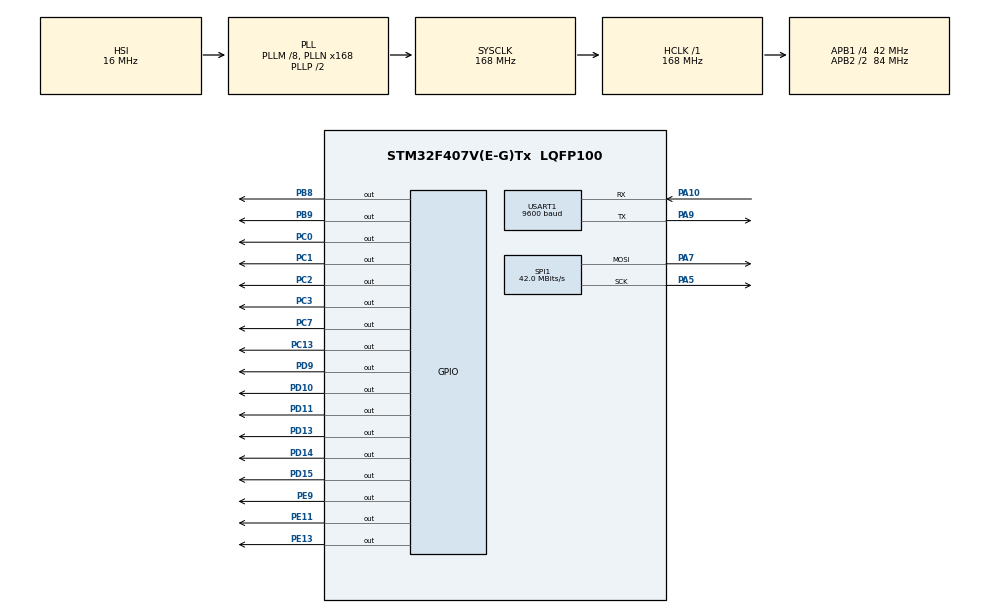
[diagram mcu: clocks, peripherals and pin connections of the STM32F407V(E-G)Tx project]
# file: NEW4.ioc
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Dma.Request0=SPI1_TX
Dma.SPI1_TX.0.Direction=DMA_MEMORY_TO_PERIPH
Dma.SPI1_TX.0.FIFOMode=DMA_FIFOMODE_DISABLE
Dma.SPI1_TX.0.Instance=DMA2_Stream3
Dma.SPI1_TX.0.MemDataAlignment=DMA_MDATAALIGN_BYTE
Dma.SPI1_TX.0.MemInc=DMA_MINC_ENABLE
Dma.SPI1_TX.0.Mode=DMA_NORMAL
Dma.SPI1_TX.0.PeriphDataAlignment=DMA_PDATAALIGN_BYTE
Dma.SPI1_TX.0.PeriphInc=DMA_PINC_DISABLE
Dma.SPI1_TX.0.Priority=DMA_PRIORITY_LOW
Mcu.Family=STM32F4
Mcu.Name=STM32F407V(E-G)Tx
Mcu.Package=LQFP100
NVIC.DMA2_Stream3_IRQn=true\:0\:0\:false\:false\:true\:false\:true
NVIC.PriorityGroup=NVIC_PRIORITYGROUP_4
NVIC.SPI1_IRQn=true\:0\:0\:false\:false\:true\:true\:true
PA10.Mode=Asynchronous
PA10.Signal=USART1_RX
PA13.Mode=Serial_Wire
PA13.Signal=SYS_JTMS-SWDIO
PA14.Mode=Serial_Wire
PA14.Signal=SYS_JTCK-SWCLK
PA5.Mode=TX_Only_Simplex_Unidirect_Master
PA5.Signal=SPI1_SCK
PA7.Mode=TX_Only_Simplex_Unidirect_Master
PA7.Signal=SPI1_MOSI
PA9.Mode=Asynchronous
PA9.Signal=USART1_TX
PB8.Signal=GPIO_Output
PB9.Signal=GPIO_Output
PC0.Signal=GPIO_Output
PC1.Signal=GPIO_Output
PC13-ANTI_TAMP.Signal=GPIO_Output
PC2.Signal=GPIO_Output
PC3.Signal=GPIO_Output
PC7.Signal=GPIO_Output
PD10.Signal=GPIO_Output
PD11.Signal=GPIO_Output
PD13.Signal=GPIO_Output
PD14.Signal=GPIO_Output
PD15.Signal=GPIO_Output
PD9.Signal=GPIO_Output
PE11.GPIO_Speed=GPIO_SPEED_FREQ_LOW
PE11.Signal=GPIO_Output
PE13.GPIO_Speed=GPIO_SPEED_FREQ_LOW
PE13.Signal=GPIO_Output
PE9.GPIO_Speed=GPIO_SPEED_FREQ_LOW
PE9.Signal=GPIO_Output
PH0-OSC_IN.Mode=HSE-External-Oscillator
PH0-OSC_IN.Signal=RCC_OSC_IN
PH1-OSC_OUT.Mode=HSE-External-Oscillator
PH1-OSC_OUT.Signal=RCC_OSC_OUT
ProjectManager.HeapSize=0x200
ProjectManager.StackSize=0x400
ProjectManager.TargetToolchain=EWARM V8.32
RCC.48MHZClocksFreq_Value=84000000
RCC.AHBFreq_Value=168000000
RCC.APB1CLKDivider=RCC_HCLK_DIV4
RCC.APB1Freq_Value=42000000
RCC.APB1TimFreq_Value=84000000
RCC.APB2CLKDivider=RCC_HCLK_DIV2
RCC.APB2Freq_Value=84000000
RCC.APB2TimFreq_Value=168000000
RCC.CortexFreq_Value=168000000
RCC.HCLKFreq_Value=168000000
RCC.HSE_VALUE=25000000
RCC.HSI_VALUE=16000000
RCC.LSE_VALUE=32768
RCC.PLLM=8
RCC.PLLN=168
RCC.SYSCLKFreq_VALUE=168000000
RCC.SYSCLKSource=RCC_SYSCLKSOURCE_PLLCLK
RCC.VCOOutputFreq_Value=336000000
SPI1.BaudRatePrescaler=SPI_BAUDRATEPRESCALER_2
SPI1.CalculateBaudRate=42.0 MBits/s
SPI1.Direction=SPI_DIRECTION_2LINES
SPI1.Mode=SPI_MODE_MASTER
SPI1.VirtualType=VM_MASTER
USART1.BaudRate=9600
USART1.VirtualMode=VM_ASYNC
board=custom

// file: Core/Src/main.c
/* USER CODE BEGIN Header */
/**
  ******************************************************************************
  * @file           : main.c
  * @brief          : Main program body
  ******************************************************************************
  * @attention
  *
  * <h2><center>&copy; Copyright (c) 2022 STMicroelectronics.
  * All rights reserved.</center></h2>
  *
  * This software component is licensed by ST under BSD 3-Clause license,
  * the "License"; You may not use this file except in compliance with the
  * License. You may obtain a copy of the License at:
  *                        opensource.org/licenses/BSD-3-Clause
  *
  ******************************************************************************
  */
/* USER CODE END Header */
#include "main.h"
/* USER CODE BEGIN Includes */
#include "ILI9341_STM32_Driver.h"
#include "ILI9341_GFX.h"
#include <stdio.h>
#include <string.h>
/* USER CODE END Includes */

SPI_HandleTypeDef hspi1;
DMA_HandleTypeDef hdma_spi1_tx;

UART_HandleTypeDef huart1;

void SystemClock_Config(void);
static void MX_GPIO_Init(void);
static void MX_USART1_UART_Init(void);
static void MX_DMA_Init(void);
static void MX_SPI1_Init(void);
/* USER CODE BEGIN PFP */
static void resetpin();
void monitor();
void monitor2();
void send_uart();
void receive_uart();
void print_uart();
uint8_t buffer[1];
void forward();
void backward();
void turnleft();
void turnright();
void stop();
void rstop();
void monitorwhite();
/* USER CODE END PFP */

int main(void)
{

  /* MCU Configuration--------------------------------------------------------*/

  /* Reset of all peripherals, Initializes the Flash interface and the Systick. */
  HAL_Init();

  /* Configure the system clock */
  SystemClock_Config();

  /* Initialize all configured peripherals */
  MX_GPIO_Init();
  MX_USART1_UART_Init();
  MX_DMA_Init();
  MX_SPI1_Init();
  /* USER CODE BEGIN 2 */
    ILI9341_Init();
  /* USER CODE END 2 */
  /* Infinite loop */
  while (1)
  {
    ILI9341_FillScreen(PURPLE);
    HAL_Delay(1000);
    monitor();
    receive_uart();
    monitor2();
    /* USER CODE BEGIN 3 */
  }
    /* USER CODE BEGIN 3 */
  }

void monitor2(void){
  static char BufferText[40];
    monitorwhite();
    sprintf(BufferText, "RECEIVE");
    ILI9341_DrawText(BufferText, FONT1, 30, 70, WHITE, PURPLE);
    sprintf(BufferText, "INPUT");
    ILI9341_DrawText(BufferText, FONT1, 95, 110, WHITE, PURPLE);
    HAL_Delay(2000);
    monitorwhite();
    HAL_Delay(1000);
    if (buffer[0] == 0x07)
    {
      monitorwhite();
      HAL_Delay(100);
      sprintf(BufferText, "FORWARD");
      ILI9341_DrawText(BufferText, FONT1, 50, 80, WHITE, PURPLE);
      HAL_Delay(3000);
      ILI9341_SetRotation(SCREEN_HORIZONTAL_2);
      ILI9341_FillScreen(GREEN);
      ILI9341_SetRotation(SCREEN_HORIZONTAL_1);
      ILI9341_FillScreen(GREEN);
      HAL_Delay(1000);
      backward();
    }
    if (buffer[0] == 0x08)
    {
      HAL_Delay(100);
      sprintf(BufferText, "BACKWARD");
      ILI9341_DrawText(BufferText, FONT1, 50, 80, WHITE, PURPLE);
      HAL_Delay(3000);
      ILI9341_FillScreen(GREEN);
      ILI9341_SetRotation(SCREEN_HORIZONTAL_2);
      ILI9341_FillScreen(GREEN);
      HAL_Delay(1000);
      forward();
    }
    if (buffer[0] == 0x09)
    {
      HAL_Delay(50);
      sprintf(BufferText, "TURN LEFT");
      ILI9341_DrawText(BufferText, FONT1, 50, 80, WHITE, PURPLE);
      HAL_Delay(3000);
      ILI9341_FillScreen(GREEN);
      ILI9341_SetRotation(SCREEN_HORIZONTAL_2);
      ILI9341_FillScreen(GREEN);
      HAL_Delay(1000);
      turnleft();
    }
    if (buffer[0] == 0x0a)
    {
      ILI9341_DrawText("Turn Right", FONT1, 50, 80, WHITE, PURPLE);
      HAL_Delay(3000);
      ILI9341_FillScreen(GREEN);
      ILI9341_SetRotation(SCREEN_HORIZONTAL_2);
      ILI9341_FillScreen(GREEN);
      HAL_Delay(1000);
      turnright();
    }
    if (buffer[0] < 0x07 || buffer[0]>0x0a )
    {
      ILI9341_SetRotation(SCREEN_HORIZONTAL_2);
      ILI9341_FillScreen(RED);
      ILI9341_SetRotation(SCREEN_HORIZONTAL_1);
      ILI9341_FillScreen(RED);
      ILI9341_DrawText("Wrong Input", FONT1, 50, 80, BLACK, RED);
      HAL_Delay(3000);
    }
    else if (buffer[0] > 0x06 || buffer[0]< 0x0b)
    {
      monitorwhite();
      ILI9341_DrawText("FINISH", FONT1, 80, 100, WHITE, PURPLE);
      HAL_Delay(3000);
    }
}
void monitor(void){
  static char BufferText[40];
  static char text[40];
      monitorwhite();
      sprintf(BufferText, "WAIT FOR");
      ILI9341_DrawText(BufferText, FONT1, 50, 70, WHITE, PURPLE);
      sprintf(text, "INPUT");
      ILI9341_DrawText(text, FONT1, 95, 110, WHITE, PURPLE);
      HAL_Delay(1000);

}
void monitorwhite(void){
      ILI9341_SetRotation(SCREEN_HORIZONTAL_2);
      ILI9341_FillScreen(PURPLE);
      ILI9341_SetRotation(SCREEN_HORIZONTAL_1);
      ILI9341_FillScreen(PURPLE);
      HAL_Delay(200);
}

void print_uart(const char *msg)
{
      HAL_UART_Transmit(&huart1, (uint8_t *) msg, strlen(msg), 1000);
}

void send_uart()
{
      HAL_UART_Transmit(&huart1, buffer, sizeof(buffer), HAL_MAX_DELAY);
}
void receive_uart()
{
      HAL_UART_Receive(&huart1, buffer, sizeof(buffer), HAL_MAX_DELAY);
}
void forward()
{
    HAL_GPIO_TogglePin(GPIOD ,GPIO_PIN_11);
    HAL_GPIO_TogglePin(GPIOC ,GPIO_PIN_7);
    HAL_GPIO_WritePin(GPIOC ,GPIO_PIN_13, GPIO_PIN_RESET);
    HAL_GPIO_TogglePin(GPIOD ,GPIO_PIN_13);
    HAL_GPIO_TogglePin(GPIOB ,GPIO_PIN_9);
    HAL_GPIO_WritePin(GPIOB ,GPIO_PIN_8, GPIO_PIN_RESET);
    HAL_GPIO_TogglePin(GPIOD ,GPIO_PIN_15);
    HAL_GPIO_TogglePin(GPIOC ,GPIO_PIN_3);
    HAL_GPIO_WritePin(GPIOC ,GPIO_PIN_2, GPIO_PIN_RESET);
    HAL_GPIO_TogglePin(GPIOD ,GPIO_PIN_14);
    HAL_GPIO_TogglePin(GPIOC ,GPIO_PIN_1);
    HAL_GPIO_WritePin(GPIOC ,GPIO_PIN_0, GPIO_PIN_RESET);
    HAL_GPIO_TogglePin(GPIOD ,GPIO_PIN_10);
    HAL_GPIO_TogglePin(GPIOD ,GPIO_PIN_9);
    HAL_Delay(300);
    resetpin();
}
void backward()
{
    HAL_GPIO_TogglePin(GPIOD ,GPIO_PIN_11);
    HAL_GPIO_TogglePin(GPIOC ,GPIO_PIN_13);
    HAL_GPIO_WritePin(GPIOC ,GPIO_PIN_7, GPIO_PIN_RESET);
    HAL_GPIO_TogglePin(GPIOD ,GPIO_PIN_13);
    HAL_GPIO_TogglePin(GPIOB ,GPIO_PIN_8);
    HAL_GPIO_WritePin(GPIOB ,GPIO_PIN_9, GPIO_PIN_RESET);
    HAL_GPIO_TogglePin(GPIOD ,GPIO_PIN_15);
    HAL_GPIO_TogglePin(GPIOC ,GPIO_PIN_2);
    HAL_GPIO_WritePin(GPIOC ,GPIO_PIN_3, GPIO_PIN_RESET);
    HAL_GPIO_TogglePin(GPIOD ,GPIO_PIN_14);
    HAL_GPIO_TogglePin(GPIOC ,GPIO_PIN_0);
    HAL_GPIO_WritePin(GPIOC ,GPIO_PIN_1, GPIO_PIN_RESET);
    HAL_GPIO_TogglePin(GPIOD ,GPIO_PIN_10);
    HAL_GPIO_TogglePin(GPIOD ,GPIO_PIN_9);
    HAL_Delay(400);
    resetpin();
}
void turnleft()
{
    HAL_GPIO_TogglePin(GPIOD ,GPIO_PIN_11);
    HAL_GPIO_TogglePin(GPIOC ,GPIO_PIN_13);
    HAL_GPIO_WritePin(GPIOC ,GPIO_PIN_7, GPIO_PIN_RESET);
    HAL_GPIO_TogglePin(GPIOD ,GPIO_PIN_13);
    HAL_GPIO_TogglePin(GPIOB ,GPIO_PIN_9);
    HAL_GPIO_WritePin(GPIOB ,GPIO_PIN_8, GPIO_PIN_RESET);
    HAL_GPIO_TogglePin(GPIOD ,GPIO_PIN_15);
    HAL_GPIO_TogglePin(GPIOC ,GPIO_PIN_3);
    HAL_GPIO_WritePin(GPIOC ,GPIO_PIN_2, GPIO_PIN_RESET);
    HAL_GPIO_TogglePin(GPIOD ,GPIO_PIN_14);
    HAL_GPIO_TogglePin(GPIOC ,GPIO_PIN_0);
    HAL_GPIO_WritePin(GPIOC ,GPIO_PIN_1, GPIO_PIN_RESET);
    HAL_GPIO_TogglePin(GPIOD ,GPIO_PIN_10);
    HAL_GPIO_TogglePin(GPIOD ,GPIO_PIN_9);
    HAL_Delay(450);
    resetpin();
}
void turnright()
{
    HAL_GPIO_TogglePin(GPIOD ,GPIO_PIN_11);
    HAL_GPIO_TogglePin(GPIOC ,GPIO_PIN_7);
    HAL_GPIO_WritePin(GPIOC ,GPIO_PIN_13, GPIO_PIN_RESET);
    HAL_GPIO_TogglePin(GPIOD ,GPIO_PIN_13);
    HAL_GPIO_TogglePin(GPIOB ,GPIO_PIN_8);
    HAL_GPIO_WritePin(GPIOB ,GPIO_PIN_9, GPIO_PIN_RESET);
    HAL_GPIO_TogglePin(GPIOD ,GPIO_PIN_15);
    HAL_GPIO_TogglePin(GPIOC ,GPIO_PIN_2);
    HAL_GPIO_WritePin(GPIOC ,GPIO_PIN_3, GPIO_PIN_RESET);
    HAL_GPIO_TogglePin(GPIOD ,GPIO_PIN_14);
    HAL_GPIO_TogglePin(GPIOC ,GPIO_PIN_1);
    HAL_GPIO_WritePin(GPIOC ,GPIO_PIN_0, GPIO_PIN_RESET);
    HAL_GPIO_TogglePin(GPIOD ,GPIO_PIN_10);
    HAL_GPIO_TogglePin(GPIOD ,GPIO_PIN_9);
    HAL_Delay(450);
    resetpin();
}

void SystemClock_Config(void)
{
  RCC_OscInitTypeDef RCC_OscInitStruct = {0};
  RCC_ClkInitTypeDef RCC_ClkInitStruct = {0};

  /** Configure the main internal regulator output voltage
  */
  __HAL_RCC_PWR_CLK_ENABLE();
  __HAL_PWR_VOLTAGESCALING_CONFIG(PWR_REGULATOR_VOLTAGE_SCALE1);
  /** Initializes the RCC Oscillators according to the specified parameters
  * in the RCC_OscInitTypeDef structure.
  */
  RCC_OscInitStruct.OscillatorType = RCC_OSCILLATORTYPE_HSI;
  RCC_OscInitStruct.HSIState = RCC_HSI_ON;
  RCC_OscInitStruct.HSICalibrationValue = RCC_HSICALIBRATION_DEFAULT;
  RCC_OscInitStruct.PLL.PLLState = RCC_PLL_ON;
  RCC_OscInitStruct.PLL.PLLSource = RCC_PLLSOURCE_HSI;
  RCC_OscInitStruct.PLL.PLLM = 8;
  RCC_OscInitStruct.PLL.PLLN = 168;
  RCC_OscInitStruct.PLL.PLLP = RCC_PLLP_DIV2;
  RCC_OscInitStruct.PLL.PLLQ = 4;
  if (HAL_RCC_OscConfig(&RCC_OscInitStruct) != HAL_OK)
  {
    Error_Handler();
  }
  /** Initializes the CPU, AHB and APB buses clocks
  */
  RCC_ClkInitStruct.ClockType = RCC_CLOCKTYPE_HCLK|RCC_CLOCKTYPE_SYSCLK
                              |RCC_CLOCKTYPE_PCLK1|RCC_CLOCKTYPE_PCLK2;
  RCC_ClkInitStruct.SYSCLKSource = RCC_SYSCLKSOURCE_PLLCLK;
  RCC_ClkInitStruct.AHBCLKDivider = RCC_SYSCLK_DIV1;
  RCC_ClkInitStruct.APB1CLKDivider = RCC_HCLK_DIV4;
  RCC_ClkInitStruct.APB2CLKDivider = RCC_HCLK_DIV2;

  if (HAL_RCC_ClockConfig(&RCC_ClkInitStruct, FLASH_LATENCY_5) != HAL_OK)
  {
    Error_Handler();
  }
}

static void MX_SPI1_Init(void)
{

  /* SPI1 parameter configuration*/
  hspi1.Instance = SPI1;
  hspi1.Init.Mode = SPI_MODE_MASTER;
  hspi1.Init.Direction = SPI_DIRECTION_2LINES;
  hspi1.Init.DataSize = SPI_DATASIZE_8BIT;
  hspi1.Init.CLKPolarity = SPI_POLARITY_LOW;
  hspi1.Init.CLKPhase = SPI_PHASE_1EDGE;
  hspi1.Init.NSS = SPI_NSS_SOFT;
  hspi1.Init.BaudRatePrescaler = SPI_BAUDRATEPRESCALER_2;
  hspi1.Init.FirstBit = SPI_FIRSTBIT_MSB;
  hspi1.Init.TIMode = SPI_TIMODE_DISABLE;
  hspi1.Init.CRCCalculation = SPI_CRCCALCULATION_DISABLE;
  hspi1.Init.CRCPolynomial = 10;
  if (HAL_SPI_Init(&hspi1) != HAL_OK)
  {
    Error_Handler();
  }

}

static void MX_USART1_UART_Init(void)
{

  huart1.Instance = USART1;
  huart1.Init.BaudRate = 9600;
  huart1.Init.WordLength = UART_WORDLENGTH_8B;
  huart1.Init.StopBits = UART_STOPBITS_1;
  huart1.Init.Parity = UART_PARITY_NONE;
  huart1.Init.Mode = UART_MODE_TX_RX;
  huart1.Init.HwFlowCtl = UART_HWCONTROL_NONE;
  huart1.Init.OverSampling = UART_OVERSAMPLING_16;
  if (HAL_UART_Init(&huart1) != HAL_OK)
  {
    Error_Handler();
  }

}

static void MX_DMA_Init(void)
{

  /* DMA controller clock enable */
  __HAL_RCC_DMA2_CLK_ENABLE();

  /* DMA interrupt init */
  /* DMA2_Stream3_IRQn interrupt configuration */
  HAL_NVIC_SetPriority(DMA2_Stream3_IRQn, 0, 0);
  HAL_NVIC_EnableIRQ(DMA2_Stream3_IRQn);

}

static void MX_GPIO_Init(void)
{
  GPIO_InitTypeDef GPIO_InitStruct = {0};

  /* GPIO Ports Clock Enable */
  __HAL_RCC_GPIOC_CLK_ENABLE();
  __HAL_RCC_GPIOH_CLK_ENABLE();
  __HAL_RCC_GPIOA_CLK_ENABLE();
  __HAL_RCC_GPIOE_CLK_ENABLE();
  __HAL_RCC_GPIOD_CLK_ENABLE();
  __HAL_RCC_GPIOB_CLK_ENABLE();

  /*Configure GPIO pin Output Level */
  HAL_GPIO_WritePin(GPIOC, GPIO_PIN_13|GPIO_PIN_0|GPIO_PIN_1|GPIO_PIN_2
                          |GPIO_PIN_3|GPIO_PIN_7, GPIO_PIN_RESET);

  /*Configure GPIO pin Output Level */
  HAL_GPIO_WritePin(GPIOE, GPIO_PIN_9|GPIO_PIN_11|GPIO_PIN_13, GPIO_PIN_RESET);

  /*Configure GPIO pin Output Level */
  HAL_GPIO_WritePin(GPIOD, GPIO_PIN_9|GPIO_PIN_10|GPIO_PIN_11|GPIO_PIN_13
                          |GPIO_PIN_14|GPIO_PIN_15, GPIO_PIN_RESET);

  /*Configure GPIO pin Output Level */
  HAL_GPIO_WritePin(GPIOB, GPIO_PIN_8|GPIO_PIN_9, GPIO_PIN_RESET);

  /*Configure GPIO pins : PC13 PC0 PC1 PC2
                           PC3 PC7 */
  GPIO_InitStruct.Pin = GPIO_PIN_13|GPIO_PIN_0|GPIO_PIN_1|GPIO_PIN_2
                          |GPIO_PIN_3|GPIO_PIN_7;
  GPIO_InitStruct.Mode = GPIO_MODE_OUTPUT_PP;
  GPIO_InitStruct.Pull = GPIO_NOPULL;
  GPIO_InitStruct.Speed = GPIO_SPEED_FREQ_LOW;
  HAL_GPIO_Init(GPIOC, &GPIO_InitStruct);

  /*Configure GPIO pins : PE9 PE11 PE13 */
  GPIO_InitStruct.Pin = GPIO_PIN_9|GPIO_PIN_11|GPIO_PIN_13;
  GPIO_InitStruct.Mode = GPIO_MODE_OUTPUT_PP;
  GPIO_InitStruct.Pull = GPIO_NOPULL;
  GPIO_InitStruct.Speed = GPIO_SPEED_FREQ_LOW;
  HAL_GPIO_Init(GPIOE, &GPIO_InitStruct);

  /*Configure GPIO pins : PD9 PD10 PD11 PD13
                           PD14 PD15 */
  GPIO_InitStruct.Pin = GPIO_PIN_9|GPIO_PIN_10|GPIO_PIN_11|GPIO_PIN_13
                          |GPIO_PIN_14|GPIO_PIN_15;
  GPIO_InitStruct.Mode = GPIO_MODE_OUTPUT_PP;
  GPIO_InitStruct.Pull = GPIO_NOPULL;
  GPIO_InitStruct.Speed = GPIO_SPEED_FREQ_LOW;
  HAL_GPIO_Init(GPIOD, &GPIO_InitStruct);

  /*Configure GPIO pins : PB8 PB9 */
  GPIO_InitStruct.Pin = GPIO_PIN_8|GPIO_PIN_9;
  GPIO_InitStruct.Mode = GPIO_MODE_OUTPUT_PP;
  GPIO_InitStruct.Pull = GPIO_NOPULL;
  GPIO_InitStruct.Speed = GPIO_SPEED_FREQ_LOW;
  HAL_GPIO_Init(GPIOB, &GPIO_InitStruct);

}

/* USER CODE BEGIN 4 */
static void resetpin(void){
  HAL_GPIO_WritePin(GPIOD ,GPIO_PIN_11, GPIO_PIN_RESET);
  HAL_GPIO_WritePin(GPIOC ,GPIO_PIN_13, GPIO_PIN_RESET);
  HAL_GPIO_WritePin(GPIOC ,GPIO_PIN_7, GPIO_PIN_RESET);
  HAL_GPIO_WritePin(GPIOD ,GPIO_PIN_9, GPIO_PIN_RESET);
  HAL_GPIO_WritePin(GPIOB ,GPIO_PIN_8, GPIO_PIN_RESET);
  HAL_GPIO_WritePin(GPIOB ,GPIO_PIN_9, GPIO_PIN_RESET);
  HAL_GPIO_WritePin(GPIOD ,GPIO_PIN_13, GPIO_PIN_RESET);
  HAL_GPIO_WritePin(GPIOD ,GPIO_PIN_14, GPIO_PIN_RESET);
  HAL_GPIO_WritePin(GPIOC ,GPIO_PIN_0, GPIO_PIN_RESET);
  HAL_GPIO_WritePin(GPIOC ,GPIO_PIN_1, GPIO_PIN_RESET);
  HAL_GPIO_WritePin(GPIOD ,GPIO_PIN_10, GPIO_PIN_RESET);
  HAL_GPIO_WritePin(GPIOC ,GPIO_PIN_2, GPIO_PIN_RESET);
  HAL_GPIO_WritePin(GPIOC ,GPIO_PIN_3, GPIO_PIN_RESET);
  HAL_GPIO_WritePin(GPIOD ,GPIO_PIN_15, GPIO_PIN_RESET);
}
/* USER CODE END 4 */

void Error_Handler(void)
{
  __disable_irq();
  while (1)
  {
  }
}

/************************ (C) COPYRIGHT STMicroelectronics *****END OF FILE****/
